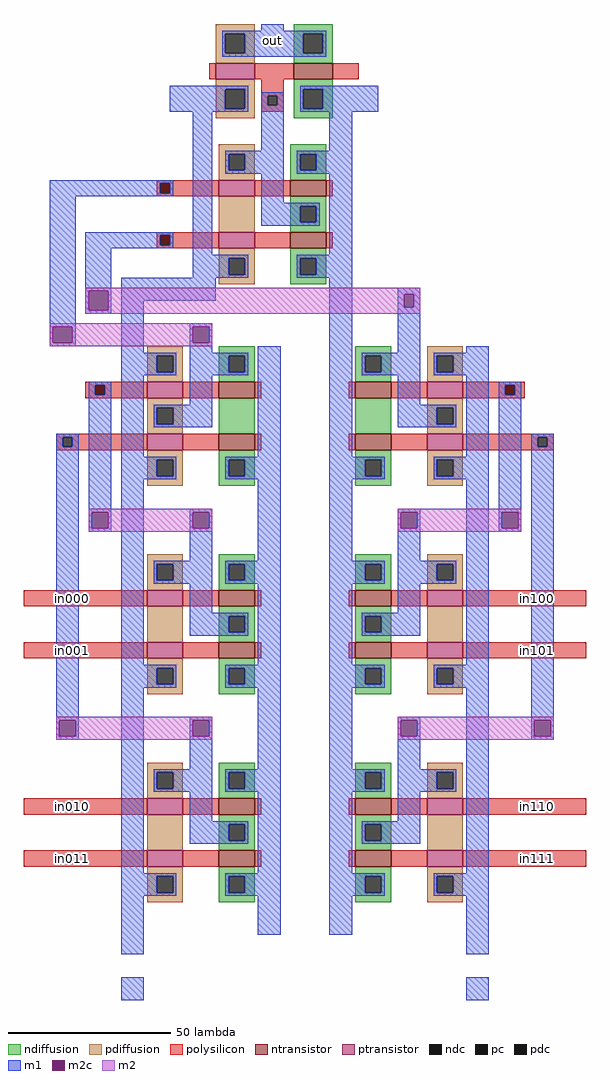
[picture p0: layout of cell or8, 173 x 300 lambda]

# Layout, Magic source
magic
tech sky130l
<< polysilicon >>
rect 73 258 80 267
rect 73 255 75 258
rect 78 255 80 258
rect 73 253 80 255
rect 0 101 30 106
rect 143 101 173 106
rect 0 85 30 90
rect 143 85 173 90
rect 0 37 30 42
rect 143 37 173 42
rect 0 21 30 26
rect 143 21 173 26
<< pc >>
rect 75 255 78 258
rect 42 228 45 231
rect 42 212 45 215
<< m1 >>
rect 73 270 80 280
rect 73 258 80 259
rect 73 255 75 258
rect 78 255 80 258
rect 8 231 46 232
rect 8 228 42 231
rect 45 228 46 231
rect 8 227 46 228
rect 8 187 16 227
rect 19 215 46 216
rect 19 212 42 215
rect 45 212 46 215
rect 19 211 46 212
rect 19 198 27 211
rect 52 209 58 253
rect 73 218 80 255
rect 94 241 101 255
rect 19 192 20 198
rect 26 192 27 198
rect 19 191 27 192
rect 30 195 59 202
rect 8 182 9 187
rect 15 182 16 187
rect 8 181 16 182
rect 30 181 37 195
rect 51 187 58 188
rect 51 182 52 187
rect 57 182 58 187
rect 51 156 58 182
rect 94 181 101 202
rect 115 197 122 199
rect 115 193 117 197
rect 120 193 122 197
rect 115 156 122 193
rect 30 -6 37 0
rect 136 -6 143 10
rect 30 -20 37 -13
rect 136 -20 143 -13
<< m2c >>
rect 20 192 26 198
rect 9 182 15 187
rect 52 182 57 187
rect 117 193 120 197
<< m2 >>
rect 19 198 122 199
rect 19 192 20 198
rect 26 197 122 198
rect 26 193 117 197
rect 120 193 122 197
rect 26 192 122 193
rect 19 191 122 192
rect 8 187 58 188
rect 8 182 9 187
rect 15 182 52 187
rect 57 182 58 187
rect 8 181 58 182
use inv  inv_0
transform 1 0 17 0 -1 331
box 28 51 92 80
use or4  or4_1
transform -1 0 154 0 1 10
box -19 -10 60 171
use or4  or4_0
transform 1 0 19 0 1 10
box -19 -10 60 171
use nor2  nor2_0
transform 1 0 -215 0 1 49
box 256 151 316 194
<< labels >>
rlabel polysilicon 0 101 30 106 7 in000
rlabel polysilicon 0 85 30 90 7 in001
rlabel polysilicon 0 37 30 42 7 in010
rlabel polysilicon 0 21 30 26 7 in011
rlabel polysilicon 143 101 173 106 3 in100
rlabel polysilicon 143 85 173 90 3 in101
rlabel polysilicon 143 37 173 42 3 in110
rlabel polysilicon 143 21 173 26 3 in111
rlabel m1 73 270 80 280 1 out
<< end >>

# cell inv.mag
magic
tech sky130l
<< ndiffusion >>
rect 66 77 78 80
rect 66 71 69 77
rect 75 71 78 77
rect 66 68 78 71
rect 66 60 78 63
rect 66 54 69 60
rect 75 54 78 60
rect 66 51 78 54
<< ndc >>
rect 69 71 75 77
rect 69 54 75 60
<< ntransistor >>
rect 66 63 78 68
<< pdiffusion >>
rect 42 77 54 80
rect 42 71 45 77
rect 51 71 54 77
rect 42 68 54 71
rect 42 60 54 63
rect 42 54 45 60
rect 51 54 54 60
rect 42 51 54 54
<< pdc >>
rect 45 71 51 77
rect 45 54 51 60
<< ptransistor >>
rect 42 63 54 68
<< polysilicon >>
rect 40 63 42 68
rect 54 63 66 68
rect 78 63 86 68
<< m1 >>
rect 28 77 52 78
rect 28 71 45 77
rect 51 71 52 77
rect 28 70 52 71
rect 68 77 92 78
rect 68 71 69 77
rect 75 71 92 77
rect 68 70 92 71
rect 44 60 76 61
rect 44 54 45 60
rect 51 54 69 60
rect 75 54 76 60
rect 44 53 76 54
<< labels >>
rlabel m1 51 53 69 61 0 out
rlabel m1 28 70 45 78 1 Vdd!
rlabel m1 75 70 92 78 1 GND!
rlabel polysilicon 54 63 66 68 1 in
<< end >>

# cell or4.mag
magic
tech sky130l
<< polysilicon >>
rect 1 159 19 160
rect 1 156 3 159
rect 6 156 19 159
rect 1 155 19 156
rect -9 143 19 144
rect -9 140 -7 143
rect -4 140 19 143
rect -9 139 19 140
rect -19 91 19 96
rect -19 75 19 80
rect -19 27 19 32
rect -19 11 19 16
<< pc >>
rect 3 156 6 159
rect -7 140 -4 143
<< m1 >>
rect 1 159 8 160
rect 1 156 3 159
rect 6 156 8 159
rect -9 143 -2 144
rect -9 140 -7 143
rect -4 140 -2 143
rect -9 56 -2 140
rect 1 120 8 156
rect 1 115 2 120
rect 7 115 8 120
rect 1 114 8 115
rect -9 51 -8 56
rect -3 51 -2 56
rect -9 50 -2 51
rect 11 -10 18 171
rect 32 160 39 171
rect 32 120 39 121
rect 32 115 33 120
rect 38 115 39 120
rect 32 107 39 115
rect 32 56 39 57
rect 32 51 33 56
rect 38 51 39 56
rect 32 43 39 51
rect 53 -10 60 171
<< m2c >>
rect 2 115 7 120
rect -8 51 -3 56
rect 33 115 38 120
rect 33 51 38 56
<< m2 >>
rect 1 120 39 121
rect 1 115 2 120
rect 7 115 33 120
rect 38 115 39 120
rect 1 114 39 115
rect -9 56 39 57
rect -9 51 -8 56
rect -3 51 33 56
rect 38 51 39 56
rect -9 50 39 51
use nand2  nand2_0 ../nand
transform 1 0 -44 0 1 97
box 44 31 104 74
use nor2  nor2_1
transform 1 0 -256 0 1 -87
box 256 151 316 194
use nor2  nor2_0
transform 1 0 -256 0 1 -151
box 256 151 316 194
<< labels >>
rlabel m1 11 -10 18 171 5 Vdd!
rlabel m1 53 -10 60 171 5 GND!
rlabel m1 32 160 39 171 1 out
rlabel polysilicon -19 91 19 96 7 in00
rlabel polysilicon -19 75 19 80 7 in01
rlabel polysilicon -19 27 19 32 7 in10
rlabel polysilicon -19 11 19 16 7 in11
<< end >>

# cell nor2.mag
magic
tech sky130l
<< ndiffusion >>
rect 297 191 308 194
rect 297 186 300 191
rect 305 186 308 191
rect 297 183 308 186
rect 297 175 308 178
rect 297 170 300 175
rect 305 170 308 175
rect 297 167 308 170
rect 297 159 308 162
rect 297 154 300 159
rect 305 154 308 159
rect 297 151 308 154
<< ndc >>
rect 300 186 305 191
rect 300 170 305 175
rect 300 154 305 159
<< ntransistor >>
rect 297 178 308 183
rect 297 162 308 167
<< pdiffusion >>
rect 275 191 286 194
rect 275 186 278 191
rect 283 186 286 191
rect 275 183 286 186
rect 275 167 286 178
rect 275 159 286 162
rect 275 154 278 159
rect 283 154 286 159
rect 275 151 286 154
<< pdc >>
rect 278 186 283 191
rect 278 154 283 159
<< ptransistor >>
rect 275 178 286 183
rect 275 162 286 167
<< polysilicon >>
rect 256 178 275 183
rect 286 178 297 183
rect 308 178 310 183
rect 256 162 275 167
rect 286 162 297 167
rect 308 162 310 167
<< m1 >>
rect 288 192 295 194
rect 277 191 295 192
rect 277 186 278 191
rect 283 186 295 191
rect 277 185 295 186
rect 299 191 316 192
rect 299 186 300 191
rect 305 186 316 191
rect 299 185 316 186
rect 288 176 295 185
rect 288 175 306 176
rect 288 170 300 175
rect 305 170 306 175
rect 288 169 306 170
rect 309 160 316 185
rect 267 159 284 160
rect 267 154 278 159
rect 283 154 284 159
rect 267 153 284 154
rect 299 159 316 160
rect 299 154 300 159
rect 305 154 316 159
rect 299 153 316 154
<< labels >>
rlabel m1 309 153 316 192 3 GND!
rlabel m1 288 169 295 194 1 out
rlabel polysilicon 256 178 275 183 7 in0
rlabel polysilicon 256 162 275 167 7 in1
rlabel m1 267 153 278 160 7 Vdd!
<< end >>

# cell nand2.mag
magic
tech sky130l
<< ndiffusion >>
rect 85 71 96 74
rect 85 66 88 71
rect 93 66 96 71
rect 85 63 96 66
rect 85 47 96 58
rect 85 39 96 42
rect 85 34 88 39
rect 93 34 96 39
rect 85 31 96 34
<< ndc >>
rect 88 66 93 71
rect 88 34 93 39
<< ntransistor >>
rect 85 58 96 63
rect 85 42 96 47
<< pdiffusion >>
rect 63 71 74 74
rect 63 66 66 71
rect 71 66 74 71
rect 63 63 74 66
rect 63 55 74 58
rect 63 50 66 55
rect 71 50 74 55
rect 63 47 74 50
rect 63 39 74 42
rect 63 34 66 39
rect 71 34 74 39
rect 63 31 74 34
<< pdc >>
rect 66 66 71 71
rect 66 50 71 55
rect 66 34 71 39
<< ptransistor >>
rect 63 58 74 63
rect 63 42 74 47
<< polysilicon >>
rect 44 58 63 63
rect 74 58 85 63
rect 96 58 98 63
rect 44 42 63 47
rect 74 42 85 47
rect 96 42 98 47
<< m1 >>
rect 76 72 83 74
rect 55 71 72 72
rect 55 66 66 71
rect 71 66 72 71
rect 55 65 72 66
rect 76 71 94 72
rect 76 66 88 71
rect 93 66 94 71
rect 76 65 94 66
rect 55 40 62 65
rect 76 56 83 65
rect 65 55 83 56
rect 65 50 66 55
rect 71 50 83 55
rect 65 49 83 50
rect 55 39 72 40
rect 55 34 66 39
rect 71 34 72 39
rect 55 33 72 34
rect 87 39 104 40
rect 87 34 88 39
rect 93 34 104 39
rect 87 33 104 34
<< labels >>
rlabel m1 55 33 62 72 7 Vdd!
rlabel m1 76 49 83 74 1 out
rlabel m1 93 33 104 40 3 GND!
rlabel polysilicon 44 58 63 63 7 in0
rlabel polysilicon 44 42 63 47 7 in1
<< end >>
